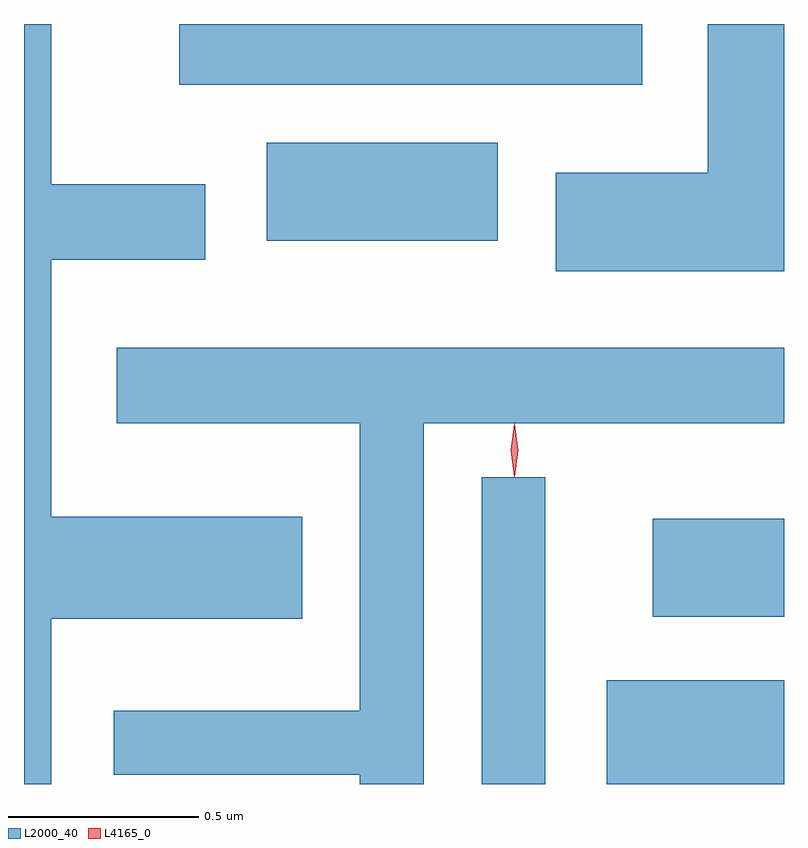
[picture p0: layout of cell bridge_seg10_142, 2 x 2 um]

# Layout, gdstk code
import gdstk
lib = gdstk.Library(unit=1e-6, precision=1e-09)
def R(c, l, rs):  # rectangles x0, y0, x1, y1
    for r in rs: c.add(gdstk.rectangle(r[:2], r[2:], *l))
def P(c, l, *ps):  # polygons
    for p in ps: c.add(gdstk.Polygon(p, *l))
L2000_40 = (2000, 40)
L4165_0 = (4165, 0)

bridge_seg10_142 = lib.new_cell('bridge_seg10_142')
R(bridge_seg10_142, L2000_40, [(1665.641,2141.366,1665.809,2142.173), (1665.971,2141.366,1666.437,2141.639), (1666.091,2141.806,1666.437,2142.064), (1665.076,2142.796,1665.684,2143.054), (1664.846,2143.206,1666.064,2143.366)])
P(bridge_seg10_142, L2000_40, [(1664.509,2141.801),(1665.169,2141.801),(1665.169,2142.069),(1664.509,2142.069),(1664.509,2142.746),(1664.914,2142.746),(1664.914,2142.944),(1664.509,2142.944),(1664.509,2143.366),(1664.437,2143.366),(1664.437,2141.366),(1664.509,2141.366)],
  [(1666.437,2143.366),(1666.236,2143.366),(1666.236,2142.974),(1665.836,2142.974),(1665.836,2142.716),(1666.437,2142.716)],
  [(1665.489,2142.316),(1666.437,2142.316),(1666.437,2142.514),(1664.681,2142.514),(1664.681,2142.316),(1665.321,2142.316),(1665.321,2141.559),(1664.673,2141.559),(1664.673,2141.391),(1665.321,2141.391),(1665.321,2141.366),(1665.489,2141.366)])
P(bridge_seg10_142, L4165_0, [(1665.727,2142.178),(1665.718,2142.244),(1665.727,2142.311),(1665.728,2142.311),(1665.728,2142.311),(1665.738,2142.244),(1665.728,2142.178),(1665.728,2142.178)],
  [(1665.728,2142.174),(1665.727,2142.175),(1665.718,2142.244),(1665.727,2142.313),(1665.728,2142.314),(1665.728,2142.313),(1665.738,2142.244),(1665.728,2142.175)])

lib.write_gds('bridge_seg10_142.gds')
